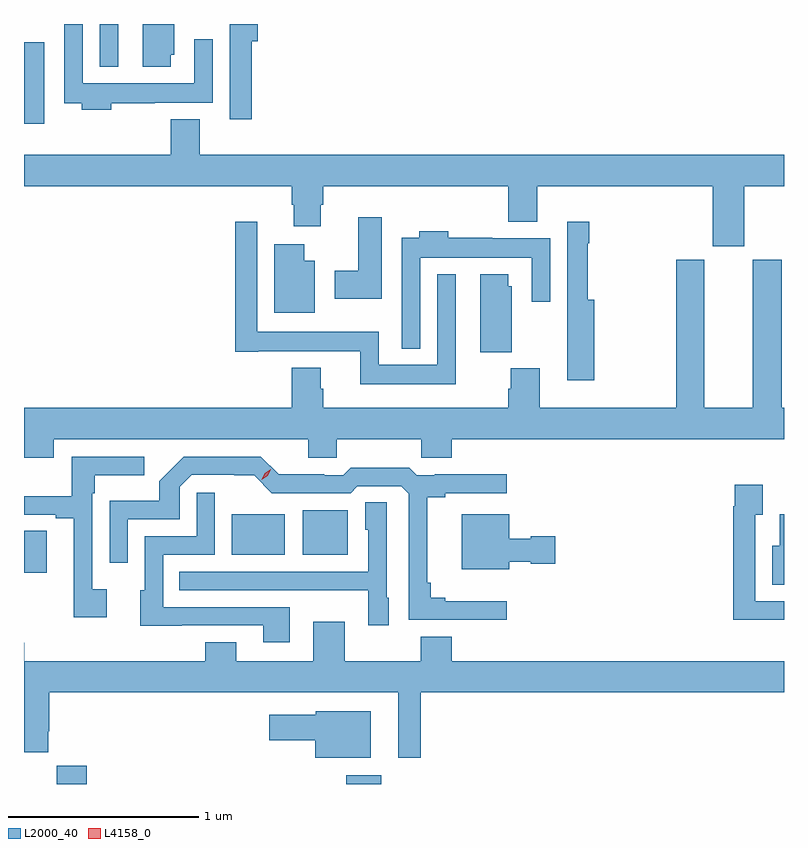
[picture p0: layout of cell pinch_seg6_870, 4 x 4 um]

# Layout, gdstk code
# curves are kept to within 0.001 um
import gdstk
lib = gdstk.Library(unit=1e-6, precision=1e-09)
def R(c, l, rs):  # rectangles x0, y0, x1, y1
    for r in rs: c.add(gdstk.rectangle(r[:2], r[2:], *l))
def P(c, l, *ps):  # polygons
    for p in ps: c.add(gdstk.Polygon(p, *l))
L2000_40 = (2000, 40)
L4158_0 = (4158, 0)

pinch_seg6_870 = lib.new_cell('pinch_seg6_870')
R(pinch_seg6_870, L2000_40, [(184.421,944.189,184.577,944.284), (185.943,944.189,186.127,944.236), (184.248,945.302,184.369,945.521), (185.342,945.395,185.62,945.61), (185.714,945.395,185.953,945.631), (184.248,947.664,184.354,948.094), (184.647,947.963,184.744,948.189)])
P(pinch_seg6_870, L2000_40, [(185.447,948.098),(185.477,948.098),(185.477,948.189),(185.331,948.189),(185.331,947.688),(185.447,947.688)],
  [(184.706,947.772),(184.937,947.772),(184.937,947.774),(185.241,947.774),(185.241,948.109),(185.145,948.109),(185.145,947.878),(184.557,947.878),(184.557,948.189),(184.461,948.189),(184.461,947.772),(184.553,947.772),(184.553,947.738),(184.706,947.738)],
  [(185.02,948.027),(185.038,948.027),(185.038,948.189),(184.874,948.189),(184.874,947.964),(185.02,947.964)],
  [(188.038,947.336),(188.248,947.336),(188.248,947.5),(185.173,947.5),(185.173,947.689),(185.021,947.689),(185.021,947.5),(184.248,947.5),(184.248,947.336),(185.657,947.336),(185.657,947.238),(185.669,947.238),(185.669,947.124),(185.809,947.124),(185.809,947.238),(185.822,947.238),(185.822,947.336),(186.797,947.336),(186.797,947.147),(186.949,947.147),(186.949,947.336),(187.874,947.336),(187.874,947.019),(188.038,947.019)],
  [(186.13,947.173),(186.008,947.173),(186.008,946.89),(185.883,946.89),(185.883,946.742),(186.13,946.742)],
  [(187.248,946.738),(187.216,946.738),(187.216,947.036),(187.223,947.036),(187.223,947.149),(187.107,947.149),(187.107,946.634),(187.106,946.634),(187.106,946.314),(187.248,946.314)],
  [(186.52,946.873),(186.423,946.873),(186.423,946.396),(186.114,946.396),(186.114,946.57),(185.475,946.57),(185.475,947.149),(185.359,947.149),(185.359,946.464),(185.482,946.464),(185.482,946.466),(186.017,946.466),(186.017,946.292),(186.52,946.292)],
  [(186.333,946.958),(186.921,946.958),(186.921,946.728),(187.017,946.728),(187.017,947.062),(186.713,947.062),(186.713,947.065),(186.482,947.065),(186.482,947.098),(186.329,947.098),(186.329,947.065),(186.237,947.065),(186.237,946.481),(186.333,946.481)],
  [(185.779,946.942),(185.722,946.942),(185.722,947.029),(185.564,947.029),(185.564,946.67),(185.779,946.67)],
  [(184.405,946.004),(185.744,946.004),(185.744,945.906),(185.895,945.906),(185.895,946.004),(186.34,946.004),(186.34,945.906),(186.5,945.906),(186.5,946.004),(188.248,946.004),(188.248,946.168),(188.237,946.168),(188.237,946.947),(188.084,946.947),(188.084,946.168),(187.828,946.168),(187.828,946.947),(187.681,946.947),(187.681,946.168),(186.962,946.168),(186.962,946.377),(186.809,946.377),(186.809,946.268),(186.797,946.268),(186.797,946.168),(185.822,946.168),(185.822,946.269),(185.809,946.269),(185.809,946.381),(185.657,946.381),(185.657,946.168),(184.248,946.168),(184.248,945.905),(184.405,945.905)],
  [(186.814,946.809),(186.796,946.809),(186.796,946.873),(186.65,946.873),(186.65,946.462),(186.814,946.462)],
  [(184.684,945.214),(184.608,945.214),(184.608,945.719),(184.621,945.719),(184.621,945.815),(184.882,945.815),(184.882,945.912),(184.5,945.912),(184.5,945.704),(184.248,945.704),(184.248,945.606),(184.415,945.606),(184.415,945.588),(184.511,945.588),(184.511,945.066),(184.684,945.066)],
  [(186.79,945.151),(186.466,945.151),(186.466,945.17),(186.389,945.17),(186.389,945.247),(186.371,945.247),(186.371,945.698),(186.466,945.698),(186.466,945.72),(186.79,945.72),(186.79,945.818),(186.409,945.818),(186.409,945.813),(186.315,945.813),(186.275,945.853),(185.968,945.853),(185.928,945.813),(185.828,945.813),(185.828,945.818),(185.588,945.818),(185.493,945.912),(185.09,945.912),(184.96,945.782),(184.96,945.679),(184.698,945.679),(184.698,945.354),(184.794,945.354),(184.794,945.582),(185.067,945.582),(185.067,945.753),(185.13,945.816),(185.459,945.815),(185.553,945.72),(185.967,945.72),(186.003,945.756),(186.234,945.756),(186.273,945.717),(186.273,945.054),(186.79,945.054)],
  [(188.248,945.15),(188.097,945.15),(188.097,945.607),(188.137,945.607),(188.137,945.763),(187.989,945.763),(187.989,945.65),(187.981,945.65),(187.981,945.053),(188.248,945.053)],
  [(185.647,945.12),(184.98,945.12),(184.98,945.396),(185.253,945.396),(185.253,945.721),(185.157,945.721),(185.157,945.492),(184.884,945.492),(184.884,945.21),(184.859,945.21),(184.859,945.023),(185.077,945.023),(185.077,945.024),(185.507,945.024),(185.507,944.934),(185.647,944.934)],
  [(186.169,945.168),(186.156,945.168),(186.156,945.671),(186.044,945.671),(186.044,945.528),(186.06,945.528),(186.06,945.306),(185.065,945.306),(185.065,945.21),(185.743,945.21),(185.743,945.209),(186.06,945.209),(186.06,945.024),(186.169,945.024)],
  [(188.248,945.61),(188.225,945.61),(188.225,945.442),(188.186,945.442),(188.186,945.239),(188.248,945.239)],
  [(186.802,945.359),(186.915,945.359),(186.915,945.347),(187.045,945.347),(187.045,945.494),(186.915,945.494),(186.915,945.481),(186.802,945.481),(186.802,945.61),(186.551,945.61),(186.551,945.32),(186.802,945.32)],
  [(186.335,944.672),(188.248,944.672),(188.248,944.836),(186.499,944.836),(186.499,944.965),(186.335,944.965),(186.335,944.836),(185.935,944.836),(185.935,945.043),(185.771,945.043),(185.771,944.836),(185.365,944.836),(185.365,944.935),(185.201,944.935),(185.201,944.836),(184.25,944.836),(184.25,944.932),(184.248,944.932),(184.248,944.355),(184.375,944.355),(184.375,944.467),(184.382,944.467),(184.382,944.672),(186.218,944.672),(186.218,944.328),(186.335,944.328)],
  [(186.073,944.572),(185.784,944.572),(185.784,944.554),(185.538,944.554),(185.538,944.42),(185.78,944.42),(185.78,944.327),(186.073,944.327)])
P(pinch_seg6_870, L4158_0, [(185.499,945.79),(185.499,945.791),(185.515,945.824),(185.546,945.845),(185.546,945.845),(185.546,945.845),(185.53,945.811),(185.499,945.79)])

lib.write_gds('pinch_seg6_870.gds')
